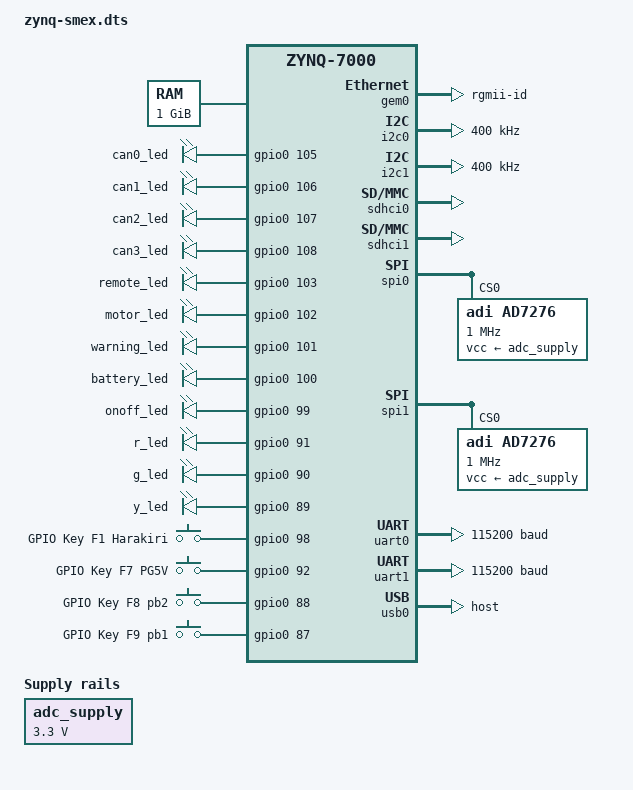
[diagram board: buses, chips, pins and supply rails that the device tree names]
/dts-v1/;
/include/ "zynq-7000.dtsi"
/include/ "zynq-smex-pl.dtsi"
/ {
	cpus {
		cpu@0 {
			operating-points = <666666 1000000 333333 1000000>;
		};
	};

	chosen {
		bootargs = "console=ttyPS0,115200 root=/dev/mmcblk0p2 rw earlyprintk rootfstype=ext4 rootwait devtmpfs.mount=1";
	};

	aliases {
		ethernet0 = &gem0;
		serial0 = &uart0;
		serial1 = &uart1;
		spi1 = &spi0;
		spi2 = &spi1;
	};

	memory {
		device_type = "memory";
		reg = <0x0 0x40000000>;
	};

	gpio-leds {
        compatible = "gpio-leds";
		can0_led {
			label = "can0_led";
			gpios = <&gpio0 105 0x0>;
			default-state = "off";
			linux,default-trigger = "can0-rxtx";
		};

		can1_led {
			label = "can1_led";
			gpios = <&gpio0 106 0x0>;
            		default-state = "off";
            		linux,default-trigger = "can1-rxtx";
		};

		can2_led {
			label = "can2_led";
			gpios = <&gpio0 107 0x0>;
            		default-state = "off";
            		linux,default-trigger = "can2-rxtx";
		};

		can3_led {
			label = "can3_led";
			gpios = <&gpio0 108 0x0>;
            		default-state = "off";
            		linux,default-trigger = "can3-rxtx";
		};

		remote_led {
			label = "remote_led";
			gpios = <&gpio0 103 0x0>;
			default-state = "off";
			linux,default-trigger = "off";
		};

		motor_led {
			label = "motor_led";
			gpios = <&gpio0 102 0x0>;
			default-state = "off";
			linux,default-trigger = "off";
		};

		warning_led {
			label = "warning_led";
			gpios = <&gpio0 101 0x0>;
			default-state = "off";
			linux,default-trigger = "off";
		};

		battery_led {
			label = "battery_led";
			gpios = <&gpio0 100 0x0>;
			default-state = "off";
			linux,default-trigger = "off";
		};

		onoff_led {
			label = "onoff_led";
			gpios = <&gpio0 99 0x0>;
			default-state = "off";
			linux,default-trigger = "off";
		};

		r_led {
			label = "r_led";
			gpios = <&gpio0 91 0x0>;
			default-state = "off";
			linux,default-trigger = "heartbeat";
		};

		g_led {
			label = "g_led";
			gpios = <&gpio0 90 0x0>;
			default-state = "off";
			linux,default-trigger = "off";
		};

		y_led {
			label = "y_led";
			gpios = <&gpio0 89 0x0>;
			default-state = "off";
			linux,default-trigger = "off";
			};
	};

	gpio-keys {
		compatible="gpio-keys";
		#address-cells = <1>;
		#size-cells = <0>;
		autorepeat;

		harakiri {
			label = "GPIO Key F1 Harakiri";
			gpios = <&gpio0 98 0>;
			linux,code = <59>; /* F1 */
			gpio-key,wakeup;
			autorepeat;
		};

		PG5V {
			label = "GPIO Key F7 PG5V";
			gpios = <&gpio0 92 0>;
			linux,code = <65>; /* F7 */
			gpio-key,wakeup;
			autorepeat;
		};

		pb2 {
			label = "GPIO Key F8 pb2";
			gpios = <&gpio0 88 0>;
			linux,code = <66>; /* F8 */
			gpio-key,wakeup;
			autorepeat;
		};

		pb1 {
			label = "GPIO Key F9 pb1";
			gpios = <&gpio0 87 0>;
			linux,code = <67>; /* F9 */
			gpio-key,wakeup;
			autorepeat;
		};
	};

	adc_supply: fixedregulator {
		compatible = "regulator-fixed";
		regulator-name = "fixed-supply";
		regulator-min-microvolt = <3300000>;
		regulator-max-microvolt = <3300000>;
	};

};

&gem0 {
	local-mac-address = [00 0a 35 00 00 00];
	phy-mode = "rgmii-id";
	status = "okay";
	xlnx,ptp-enet-clock = <0x69f6bcb>;
};

&gpio0 {
	emio-gpio-width = <64>;
	gpio-mask-high = <0x0>;
	gpio-mask-low = <0x5600>;
};

&i2c0 {
	clock-frequency = <400000>;
	status = "okay";
};

&i2c1 {
	clock-frequency = <400000>;
	status = "okay";
};

&intc {
	num_cpus = <2>;
	num_interrupts = <96>;
};

&sdhci0 {
	status = "okay";
	xlnx,has-cd = <0x1>;
	xlnx,has-power = <0x0>;
	xlnx,has-wp = <0x1>;
};

&sdhci1 {
	status = "okay";
	xlnx,has-cd = <0x1>;
	xlnx,has-power = <0x0>;
	xlnx,has-wp = <0x1>;
};

&spi0 {
	is-decoded-cs = <0>;
	num-cs = <3>;
	status = "okay";

	ad7276@0 {
		compatible = "adi,ad7276";
		reg = <0>;
		spi-max-frequency = <1000000>;
		spi-cpha;
		cpi-cpol;
		vcc-supply = <&adc_supply>;
	};
};

&spi1 {
	is-decoded-cs = <0>;
	num-cs = <3>;
	status = "okay";

	ad7276@0 {
		compatible = "adi,ad7276";
		reg = <0>;
		spi-max-frequency = <1000000>;
		spi-cpha;
		cpi-cpol;
		vcc-supply = <&adc_supply>;
	};
};

&uart0 {
	current-speed = <115200>;
	device_type = "serial";
	port-number = <0>;
	status = "okay";
};

&uart1 {
	current-speed = <115200>;
	device_type = "serial";
	port-number = <1>;
	status = "okay";
};

&usb0 {
	dr_mode = "host";
	phy_type = "ulpi";
	status = "okay";
};

&clkc {
	fclk-enable = <0x1>;
	ps-clk-frequency = <33333333>;
};
